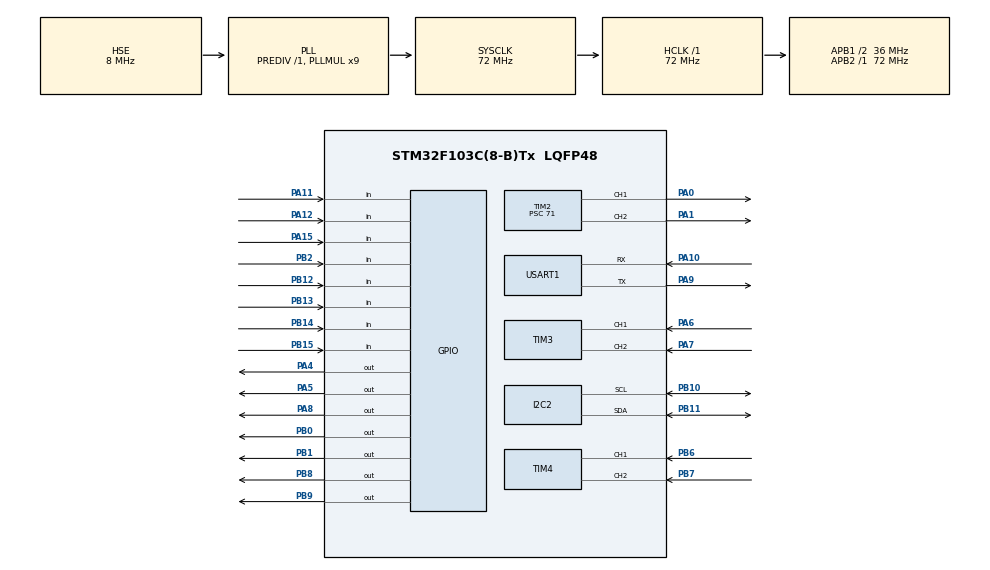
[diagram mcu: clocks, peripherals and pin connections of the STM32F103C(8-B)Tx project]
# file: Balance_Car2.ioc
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Mcu.Family=STM32F1
Mcu.Name=STM32F103C(8-B)Tx
Mcu.Package=LQFP48
NVIC.PriorityGroup=NVIC_PRIORITYGROUP_4
NVIC.TIM1_UP_IRQn=true\:0\:0\:false\:false\:true\:true\:true\:true
NVIC.USART1_IRQn=true\:3\:0\:true\:false\:true\:true\:true\:true
PA0-WKUP.Signal=S_TIM2_CH1_ETR
PA1.Signal=S_TIM2_CH2
PA10.Mode=Asynchronous
PA10.Signal=USART1_RX
PA11.GPIO_PuPd=GPIO_PULLDOWN
PA11.Signal=GPIO_Input
PA12.GPIO_PuPd=GPIO_PULLDOWN
PA12.Signal=GPIO_Input
PA13.Mode=Serial_Wire
PA13.Signal=SYS_JTMS-SWDIO
PA14.Mode=Serial_Wire
PA14.Signal=SYS_JTCK-SWCLK
PA15.GPIO_PuPd=GPIO_PULLDOWN
PA15.Signal=GPIO_Input
PA4.Signal=GPIO_Output
PA5.Signal=GPIO_Output
PA6.Signal=S_TIM3_CH1
PA7.Signal=S_TIM3_CH2
PA8.GPIO_PuPd=GPIO_PULLDOWN
PA8.Signal=GPIO_Output
PA9.Mode=Asynchronous
PA9.Signal=USART1_TX
PB0.Signal=GPIO_Output
PB1.Signal=GPIO_Output
PB10.Mode=I2C
PB10.Signal=I2C2_SCL
PB11.Mode=I2C
PB11.Signal=I2C2_SDA
PB12.GPIO_Mode=GPIO_MODE_INPUT
PB12.GPIO_PuPd=GPIO_PULLDOWN
PB12.Signal=GPIO_Input
PB13.GPIO_Mode=GPIO_MODE_INPUT
PB13.GPIO_PuPd=GPIO_PULLDOWN
PB13.Signal=GPIO_Input
PB14.GPIO_Mode=GPIO_MODE_INPUT
PB14.GPIO_PuPd=GPIO_PULLDOWN
PB14.Signal=GPIO_Input
PB15.GPIO_Mode=GPIO_MODE_INPUT
PB15.GPIO_PuPd=GPIO_PULLDOWN
PB15.Signal=GPIO_Input
PB2.GPIO_Mode=GPIO_MODE_INPUT
PB2.GPIO_PuPd=GPIO_PULLDOWN
PB2.Signal=GPIO_Input
PB6.Signal=S_TIM4_CH1
PB7.Signal=S_TIM4_CH2
PB8.GPIO_ModeDefaultOutputPP=GPIO_MODE_OUTPUT_OD
PB8.GPIO_PuPd=GPIO_PULLUP
PB8.Signal=GPIO_Output
PB9.GPIO_ModeDefaultOutputPP=GPIO_MODE_OUTPUT_OD
PB9.GPIO_PuPd=GPIO_PULLUP
PB9.GPIO_Speed=GPIO_SPEED_FREQ_HIGH
PB9.Signal=GPIO_Output
PC14-OSC32_IN.Mode=LSE-External-Oscillator
PC14-OSC32_IN.Signal=RCC_OSC32_IN
PC15-OSC32_OUT.Mode=LSE-External-Oscillator
PC15-OSC32_OUT.Signal=RCC_OSC32_OUT
PD0-OSC_IN.Mode=HSE-External-Oscillator
PD0-OSC_IN.Signal=RCC_OSC_IN
PD1-OSC_OUT.Mode=HSE-External-Oscillator
PD1-OSC_OUT.Signal=RCC_OSC_OUT
ProjectManager.HeapSize=0x200
ProjectManager.StackSize=0x400
ProjectManager.TargetToolchain=STM32CubeIDE
RCC.AHBFreq_Value=72000000
RCC.APB1CLKDivider=RCC_HCLK_DIV2
RCC.APB1Freq_Value=36000000
RCC.APB1TimFreq_Value=72000000
RCC.APB2Freq_Value=72000000
RCC.APB2TimFreq_Value=72000000
RCC.HCLKFreq_Value=72000000
RCC.PLLMUL=RCC_PLL_MUL9
RCC.PLLSourceVirtual=RCC_PLLSOURCE_HSE
RCC.SYSCLKFreq_VALUE=72000000
RCC.SYSCLKSource=RCC_SYSCLKSOURCE_PLLCLK
RCC.USBFreq_Value=72000000
SH.S_TIM2_CH1_ETR.0=TIM2_CH1,PWM Generation1 CH1
SH.S_TIM2_CH2.0=TIM2_CH2,PWM Generation2 CH2
SH.S_TIM3_CH1.0=TIM3_CH1,Encoder_Interface
SH.S_TIM3_CH2.0=TIM3_CH2,Encoder_Interface
SH.S_TIM4_CH1.0=TIM4_CH1,Encoder_Interface
SH.S_TIM4_CH2.0=TIM4_CH2,Encoder_Interface
TIM1.Period=999
TIM1.Prescaler=71
TIM2.Channel-PWM\ Generation1\ CH1=TIM_CHANNEL_1
TIM2.Channel-PWM\ Generation2\ CH2=TIM_CHANNEL_2
TIM2.Period=99
TIM2.Prescaler=71
TIM3.AutoReloadPreload=TIM_AUTORELOAD_PRELOAD_DISABLE
TIM3.EncoderMode=TIM_ENCODERMODE_TI12
TIM3.IC1Filter=0
TIM4.EncoderMode=TIM_ENCODERMODE_TI12
USART1.VirtualMode=VM_ASYNC
VP_TIM1_VS_ClockSourceINT.Mode=Internal
board=custom

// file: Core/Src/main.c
/* USER CODE BEGIN Header */
/**
  ******************************************************************************
  * @file           : main.c
  * @brief          : Main program body
  ******************************************************************************
  * @attention
  *
  * Copyright (c) 2026 STMicroelectronics.
  * All rights reserved.
  *
  * This software is licensed under terms that can be found in the LICENSE file
  * in the root directory of this software component.
  * If no LICENSE file comes with this software, it is provided AS-IS.
  *
  ******************************************************************************
  */
/* USER CODE END Header */
#include "main.h"
#include "i2c.h"
#include "tim.h"
#include "usart.h"
#include "gpio.h"

/* USER CODE BEGIN Includes */

#include "main.h"
#include "math.h"
#include "tim.h"
#include "usart.h"
#include "stdio.h"
#include "gpio.h"
#include "string.h"
#include "motor.h"
#include "OLED.h"
#include "pid.h"
#include "hongwai.h"
#include "my_i2c.h"
#include "ms6dsv(1).h"
#include "stdlib.h"
#include "stdint.h"
#include "i2c.h"
#include "daima.h"

void SystemClock_Config(void);
uint8_t mode=0;
float location=0;
float angle_z=0;
float base_speed = 150;       // 基础速度
float target_angle = 0.0f;    // 目标角度（0=直线）
extern uint8_t IR[7]; //七个红外对管
extern uint8_t IRz;
/* USER CODE END Includes */

/* USER CODE BEGIN PTD */
float Speed_left,Speed_right,Location;		//速度，位置
//
//PID_t Inner_left = {
//    .Kp = 0.3f,
//    .Ki = 0.09f,
//    .Kd = 0.0f,
//    .OutMax = 99,
//    .OutMin = -99,
//};
//PID_t Inner_right = {
//    .Kp = 0.3f,
//    .Ki = 0.09f,
//    .Kd = 0.0f,
//    .OutMax = 99,
//    .OutMin = -99,
//};

// 内环 速度环 稳定不啸叫
PID_t Inner_left = {
    .Kp = 0.3f,
    .Ki = 0.09f,   // 积分压到极低，不冲
    .Kd = 0.0f,
    .OutMax = 99,
    .OutMin = -99,
};

PID_t Inner_right = {
    .Kp = 0.3f,
    .Ki = 0.09f,
    .Kd = 0.0f,
    .OutMax = 99,
    .OutMin = -99,
};

// 角度环（转向环）PID —— 负责走直线、修正方向
PID_t Angle_PID = {
//    .Kp = 2.2f,     // 转向力度
//    .Ki = 0.0f,    // 小积分
//    .Kd = 0.5f,     // 微阻尼
////		.Kp = 8.0f,     // 转向力度
////		.Ki = 0.00f,    // 小积分
////		.Kd = 0.5f,     // 微阻尼
//    .OutMax = 60,   // 转向最大修正量（不能太大）
//    .OutMin = -60,
//		 .Kp = 3.0f,     // 转向力度
//		    .Ki = 0.0f,    // 小积分
//		    .Kd = 0.5f,     // 微阻尼
//		//		.Kp = 8.0f,     // 转向力度
//		//		.Ki = 0.00f,    // 小积分
//		//		.Kd = 0.5f,     // 微阻尼
//		    .OutMax = 60,   // 转向最大修正量（不能太大）
//		    .OutMin = -60,          //90度
//		.Kp = 3.0f,     // 转向力度
//				.Ki = 0.00f,    // 小积分
//				.Kd = 0.5f,     // 微阻尼
//		    .OutMax = 50,   // 转向最大修正量（不能太大）
//		    .OutMin = -50,          //90度

//		.Kp = 3.0f,     // 转向力度
//				.Ki = 0.04f,    // 小积分
//				.Kd = 0.0f,     // 微阻尼
//		    .OutMax = 50,   // 转向最大修正量（不能太大）
//		    .OutMin = -50,
		.Kp = 3.0f,     // 转向力度
				.Ki = 0.1f,    // 小积分
				.Kd = 0.2f,     // 微阻尼
		    .OutMax = 40,   // 转向最大修正量（不能太大）
		    .OutMin = -40,

};

// 外环 位置环 不冲、稳停车
Motor Outer = {

//		.Kp = 0.1f,
//		.Ki = 0.0f,
//		.Kd = 0.1f,
//    .OutMax = 140,
//    .OutMin = -140,
		.Kp = 0.1f,
		.Ki = 0.0f,
		.Kd = 0.1f,
    .OutMax = 140,
    .OutMin = -140,

};
//Motor Outer = {
//    .Kp = 6.0f,      // 更稳
//    .Ki = 0.0f,
//    .Kd = 1.2f,      // 降低，减少抖动
//    .OutMax = 420,   // 正常速度（不会飞）
//    .OutMin = -420,
//};
/* USER CODE END PTD */

/* USER CODE BEGIN PD */

// 全局变量（放在 main.c 最上面）

uint32_t delay_ms = 0;    // 计时用
/* USER CODE END PD */

/* USER CODE BEGIN PM */
uint8_t go_trace_flag = 0;  // 0=走直线  1=循迹
/* USER CODE END PM */

void SystemClock_Config(void);

/* USER CODE BEGIN 0 */
// 两个速度环PID，完全独立！

// 速度环PID初始化

// 输出限幅（你的PWM最大值 99）

/* USER CODE END 0 */

int main(void)
{

  /* MCU Configuration--------------------------------------------------------*/

  /* Reset of all peripherals, Initializes the Flash interface and the Systick. */
  HAL_Init();

  /* Configure the system clock */
  SystemClock_Config();

  /* Initialize all configured peripherals */
  MX_GPIO_Init();
  MX_TIM1_Init();
  MX_TIM2_Init();
  MX_TIM3_Init();
  MX_TIM4_Init();
  MX_USART1_UART_Init();
  MX_I2C2_Init();
  /* USER CODE BEGIN 2 */

  // 开启外设
  HAL_TIM_PWM_Start(&htim2, TIM_CHANNEL_1);
  HAL_TIM_PWM_Start(&htim2, TIM_CHANNEL_2);
  HAL_TIM_Encoder_Start(&htim3, TIM_CHANNEL_ALL);
  HAL_TIM_Encoder_Start(&htim4, TIM_CHANNEL_ALL);
  MX_TIM1_Init();
  LSM6DSV_Init();
  HAL_TIM_Base_Start_IT(&htim1); // 开启TIM1中断
//  Inner_left.Target=60;
//  Inner_right.Target=60;
//  base_speed=90;
//  target_angle=-30; //斜线角度

  /* USER CODE END 2 */

  /* Infinite loop */
  while (1)
  {

  }
}

void SystemClock_Config(void)
{
  RCC_OscInitTypeDef RCC_OscInitStruct = {0};
  RCC_ClkInitTypeDef RCC_ClkInitStruct = {0};

  /** Initializes the RCC Oscillators according to the specified parameters
  * in the RCC_OscInitTypeDef structure.
  */
  RCC_OscInitStruct.OscillatorType = RCC_OSCILLATORTYPE_HSE;
  RCC_OscInitStruct.HSEState = RCC_HSE_ON;
  RCC_OscInitStruct.HSEPredivValue = RCC_HSE_PREDIV_DIV1;
  RCC_OscInitStruct.HSIState = RCC_HSI_ON;
  RCC_OscInitStruct.PLL.PLLState = RCC_PLL_ON;
  RCC_OscInitStruct.PLL.PLLSource = RCC_PLLSOURCE_HSE;
  RCC_OscInitStruct.PLL.PLLMUL = RCC_PLL_MUL9;
  if (HAL_RCC_OscConfig(&RCC_OscInitStruct) != HAL_OK)
  {
    Error_Handler();
  }

  /** Initializes the CPU, AHB and APB buses clocks
  */
  RCC_ClkInitStruct.ClockType = RCC_CLOCKTYPE_HCLK|RCC_CLOCKTYPE_SYSCLK
                              |RCC_CLOCKTYPE_PCLK1|RCC_CLOCKTYPE_PCLK2;
  RCC_ClkInitStruct.SYSCLKSource = RCC_SYSCLKSOURCE_PLLCLK;
  RCC_ClkInitStruct.AHBCLKDivider = RCC_SYSCLK_DIV1;
  RCC_ClkInitStruct.APB1CLKDivider = RCC_HCLK_DIV2;
  RCC_ClkInitStruct.APB2CLKDivider = RCC_HCLK_DIV1;

  if (HAL_RCC_ClockConfig(&RCC_ClkInitStruct, FLASH_LATENCY_2) != HAL_OK)
  {
    Error_Handler();
  }
}

/* USER CODE BEGIN 4 */
int16_t temp1=0;
int16_t temp2=0;
int16_t du1(void)
{
    temp1 = __HAL_TIM_GET_COUNTER(&htim3);
    __HAL_TIM_SET_COUNTER(&htim3, 0);
    return temp1;
}
int16_t du2(void)
{

    temp2= __HAL_TIM_GET_COUNTER(&htim4);
    __HAL_TIM_SET_COUNTER(&htim4, 0);
    return temp2;
}

char text[80];
uint16_t count=0;
extern Motor_1 L_PID;
extern Motor_1 R_PID;

// uint8_t first_run = 0;
// uint8_t num1=0;

	uint8_t  this_white_flag  = 0;
	uint8_t  last_white_flag  = 0;
uint8_t flag11=0;

void HAL_TIM_PeriodElapsedCallback(TIM_HandleTypeDef *htim)
{
	if(htim->Instance==TIM1)
	{
		static uint16_t Count1=0;
//		static uint16_t tim=0;
		Count1++;
//		tim++;
//		if(tim>3000)
//		{
//			tim=0;
//			Outer.Out+=40;
//			if(Outer.Out>250)
//			{
//				Outer.Out=-250;
//
//			}
//		}
		// 40ms 中断
		if (Count1 >= 40)
		{
			Count1=0;

//			target_angle =90;
//			//Outer.Target  = 5000;
//			jiaodusuduhuan();
//			jiaoduweizhisuduhuan();
//			sprintf(text, "%.2f,%.2f,%.2f\r\n",Inner_left.Actual,Inner_right.Actual,Angle_PID.Actual);
//			HAL_UART_Transmit(&huart1, (uint8_t*)text, strlen(text), 100);

//			aaa();
////
////			Inner_left.Target=1000;
////			Inner_right.Target=1000;
////			suduhuan();

//**************************第三题半圈****************************
//			uint8_t status = LSM6DSV_ReadReg(0x1E);
//			if((status & 0x03) == 0x03)
//			{
//				int16_t gx, gy, gz;
//				int16_t ax, ay, az;
//				LSM6DSV_ReadGyro(&gx, &gy, &gz);
//				LSM6DSV_ReadAccel(&ax, &ay, &az);
//
//				float gz_dps = gz * 4.375f / 1000.0f;
//				if(fabs(gz_dps) < 3.0f) gz_dps = 0.0f;
//				angle_z += gz_dps * 0.04f;
//			}
//
//			// 读取7路红外
//			IR[0] = HAL_GPIO_ReadPin(GPIOA, GPIO_PIN_12);
//			IR[1] = HAL_GPIO_ReadPin(GPIOA, GPIO_PIN_11);
//			IR[2] = HAL_GPIO_ReadPin(GPIOB, GPIO_PIN_15);
//			IR[3] = HAL_GPIO_ReadPin(GPIOA, GPIO_PIN_15);
//			IR[4] = HAL_GPIO_ReadPin(GPIOB, GPIO_PIN_14);
//			IR[5] = HAL_GPIO_ReadPin(GPIOB, GPIO_PIN_13);
//			IR[6] = HAL_GPIO_ReadPin(GPIOB, GPIO_PIN_12);
//
//			// ==============================================
//			// 核心逻辑：斜走完成后 → 循迹 / 左转找线
//			// ==============================================
//			if(go_trace_flag == 0)
//			{
//				// ======================
//				// 阶段1：还没走完 → 斜走 -45° 9500
//				// ======================
//				target_angle = -45;
//				Outer.Target  = 9500;
//				jiaoduweizhisuduhuan();
//			}
//			else
//			{
//				// ======================
//				// 阶段2：斜走完成 → 判断是否在线上
//				// ======================
//				uint8_t has_black = 0;
//				if(IR[0]==1 || IR[1]==1 || IR[2]==1 || IR[3]==1 || IR[4]==1 || IR[5]==1 || IR[6]==1)
//				{
//					has_black = 1; // 有黑线 → 在线上
//				}
//				else
//				{
//					has_black = 0; // 全白 → 不在线上
//				}
//
//				// ======================
//				// 执行：在线循迹 / 不在线左转
//				// ======================
//				if(has_black == 1)
//				{
//					// ✅ 在线 → 循迹
//					Track_7IR();
//					suduhuan();
//				}
//				else
//				{
//					// ❌ 不在线 → 原地左转找线
//					suduhuan_zizhuan(0.0f, 30.0f);
//				}
//			}
//						sprintf(text, "%.2f,%.2f,%.2f\r\n",Inner_left.Actual,Inner_right.Actual,Angle_PID.Actual);
//						HAL_UART_Transmit(&huart1, (uint8_t*)text, strlen(text), 100);
//**************************第三题半圈****************************

//			**************************第三题1圈****************************
//			uint8_t status = LSM6DSV_ReadReg(0x1E);
//			if((status & 0x03) == 0x03)
//			{
//			    int16_t gx, gy, gz;
//			    int16_t ax, ay, az;
//			    LSM6DSV_ReadGyro(&gx, &gy, &gz);
//			    LSM6DSV_ReadAccel(&ax, &ay, &az);
//
//			    float gz_dps = gz * 4.375f / 1000.0f;
//			    if(fabs(gz_dps) < 3.0f) gz_dps = 0.0f;
//			    angle_z += gz_dps * 0.04f;
//			}
//
//			// 读取红外
//			IR[0] = HAL_GPIO_ReadPin(GPIOA, GPIO_PIN_12);
//			IR[1] = HAL_GPIO_ReadPin(GPIOA, GPIO_PIN_11);
//			IR[2] = HAL_GPIO_ReadPin(GPIOB, GPIO_PIN_15);
//			IR[3] = HAL_GPIO_ReadPin(GPIOA, GPIO_PIN_15);
//			IR[4] = HAL_GPIO_ReadPin(GPIOB, GPIO_PIN_14);
//			IR[5] = HAL_GPIO_ReadPin(GPIOB, GPIO_PIN_13);
//			IR[6] = HAL_GPIO_ReadPin(GPIOB, GPIO_PIN_12);
//
//			// 判断有没有黑线
//
//
//			uint8_t has_black = 0;
//
////			uint8_t white=0;
////			if(IR[0]==0 && IR[1]==0 && IR[2]==0 && IR[3]==0 && IR[4]==0 && IR[5]==0 && IR[6]==0)
////			{
////				white = 1;
////			}
//			if(IR[0]==1 || IR[1]==1 || IR[2]==1 || IR[3]==1 || IR[4]==1 || IR[5]==1 || IR[6]==1)
//			{
//
//			    has_black = 1;
//			}
//
//			// ==============================================
//			// 你要的最终完美逻辑
//			// ==============================================
//			if(go_trace_flag == 0)       // 1. 先斜着走 -45° 9500
//			{
//
//				if(flag==0)
//				{
//
//					Inner_left.Error0 = 0;
//					Inner_left.Error1 = 0;
//					Inner_left.ErrorInt = 0;
//					Inner_right.Error0 = 0;
//					Inner_right.Error1 = 0;
//					Inner_right.ErrorInt = 0;
//					Outer.Error0=0;
//					Outer.Error1=0;
//					Outer.ErrorInt=0;
//					Angle_PID.Error0 = 0;
//					Angle_PID.Error1 = 0;
//					Angle_PID.ErrorInt = 0;
////				    Outer.Out = 0;
////				    Angle_PID.Out = 0;
//				    location = 0;
//
//					flag=1;
//				}
//
//			    target_angle = -35;
//			    Outer.Target  = 9500;
//			    jiaoduweizhisuduhuan();
//			}
//			else if(go_trace_flag == 1)  // 2. -45°走完：判断是否要左转找线
//			{
//			    if(has_black)
//			    {
//			        // 有黑线 → 直接循迹
////			    	if(flag11==0)
////			    	{
////			    		Inner_left.Error0 = 0;
////						Inner_left.Error1 = 0;
////						Inner_left.ErrorInt = 0;
////						Inner_right.Error0 = 0;
////						Inner_right.Error1 = 0;
////						Inner_right.ErrorInt = 0;
////						flag11=1;
////			    	}
//
//
//			        go_trace_flag = 2;
//			    }
//			    else
//			    {
//			        // 全白 → 左转找线
//			        suduhuan_zizhuan(0.0f, 40.0f);
//			    }
//			}
//			else if(go_trace_flag == 2)  // 3. 循迹模式
//			{
//			    if(has_black)
//			    {
//			        // 有黑线 → 正常循迹
//			        Track_7IR();
//			        suduhuan();
//			    }
//			    else
//			    {
//			        // 全白 → 去走 215°
//			    	static uint8_t out_times = 0;
//					out_times++;
//
//					if(out_times >= 2)   // 两次离线 = 一圈跑完
//					{
//						go_trace_flag = 0;   // ✅ 回到起点 -40°
//						out_times = 0;       // 清零计数
//						location = 0;
//					}
//					else
//					{
//						go_trace_flag = 3;  // 第一次离线 → 走220°
//					}
//			        location = 0;
//
//			    }
//			}
//			else if(go_trace_flag == 3)  // 4. 走 215° 9500
//			{
//
//
//				if(flag==1)
//				{
//					Inner_left.Error0 = 0;
//					Inner_left.Error1 = 0;
//					Inner_left.ErrorInt = 0;
//					Inner_right.Error0 = 0;
//					Inner_right.Error1 = 0;
//					Inner_right.ErrorInt = 0;
//					Outer.Error0=0;
//					Outer.Error1=0;
//					Outer.ErrorInt=0;
//					Angle_PID.Error0 = 0;
//					Angle_PID.Error1 = 0;
//					Angle_PID.ErrorInt = 0;
////				    Outer.Out = 0;
////				    Angle_PID.Out = 0;
//				    location = 0;
//					flag=0;
//				}
//				target_angle = 225;
//				Outer.Target  = 10000;
//				jiaoduweizhisuduhuan();
//
//
//			}
//			else if(go_trace_flag == 4)  // 5. 215°走完：判断是否要右转找线
//			{
//
//			    if(has_black)
//			    {
//
//
//			        // 有黑线 → 直接循迹
//			        go_trace_flag = 2;
//
//
//			    }
//			    else
//			    {
//			        // 全白 → 右转找线
//			        suduhuan_zizhuan(40.0f, 0.0f);
//
//			    }
//			}

//	        Track_7IR();
//	        suduhuan();
			//**************************第三题1圈****************************

			//**************************第三题测试****************************
						uint8_t status = LSM6DSV_ReadReg(0x1E);
						if((status & 0x03) == 0x03)
						{
							int16_t gx, gy, gz;
							int16_t ax, ay, az;
							LSM6DSV_ReadGyro(&gx, &gy, &gz);
							LSM6DSV_ReadAccel(&ax, &ay, &az);

							float gz_dps = gz * 4.375f / 1000.0f;
							if(fabs(gz_dps) < 3.0f) gz_dps = 0.0f;
							angle_z += gz_dps * 0.04f;
						}

						// 读取红外
//						IR[0] = HAL_GPIO_ReadPin(GPIOA, GPIO_PIN_12);
//						IR[1] = HAL_GPIO_ReadPin(GPIOA, GPIO_PIN_11);
//						IR[2] = HAL_GPIO_ReadPin(GPIOB, GPIO_PIN_15);
//						IR[3] = HAL_GPIO_ReadPin(GPIOB, GPIO_PIN_14);
//						IR[4] = HAL_GPIO_ReadPin(GPIOB, GPIO_PIN_13);
//						IR[5] = HAL_GPIO_ReadPin(GPIOB, GPIO_PIN_12);
//						IRz = HAL_GPIO_ReadPin(GPIOA, GPIO_PIN_15);
			            Track_7IR();
			            du1();
			            du2();

						switch(mode)
						{
						case 0:Mode_1();break;
						case 1:Mode_2();break;
						case 2:Mode_3();break;
						case 3:Mode_4();break;
						case 4:Mode_5();break;
						case 5:Mode_6();break;
						}

//						// 判断有没有黑线
//						static uint8_t quanshu=0;
//						static uint8_t quanshu2=0;
//
//
//						uint8_t has_black = 0;
//
//			//			uint8_t white=0;
//			//			if(IR[0]==0 && IR[1]==0 && IR[2]==0 && IR[3]==0 && IR[4]==0 && IR[5]==0 && IR[6]==0)
//			//			{
//			//				white = 1;
//			//			}
//						if(IR[0]==1 || IR[1]==1 || IR[2]==1 || IR[3]==1 || IR[4]==1 || IR[5]==1 || IR[6]==1)
//						{
//
//						    has_black = 1;
//						}
//
//						// ==============================================
//						// 你要的最终完美逻辑
//						// ==============================================
//						if(go_trace_flag == 0)       // 1. 先斜着走 -45° 9500
//						{
//
//							if(flag==0)
//							{
//								quanshu++;
//
//								Inner_left.Error0 = 0;
//								Inner_left.Error1 = 0;
//								Inner_left.ErrorInt = 0;
//								Inner_right.Error0 = 0;
//								Inner_right.Error1 = 0;
//								Inner_right.ErrorInt = 0;
//								Outer.Error0=0;
//								Outer.Error1=0;
//								Outer.ErrorInt=0;
//								Angle_PID.Error0 = 0;
//								Angle_PID.Error1 = 0;
//								Angle_PID.ErrorInt = 0;
//							    Outer.Out = 0;
//							    Angle_PID.Out = 0;
//							    location = 0;
//
//								flag=1;
//							}
//
//							if(quanshu==1)
//							{
//								angle_z=0;
//								quanshu=2;
//
//							}
//							else if(quanshu==2)
//							{
//								angle_z=20;
//								quanshu=1;
////								target_angle = (-40+(quanshu-1)*(15-(quanshu-1)));
////								 target_angle = (-40+(quanshu-1)*15);
////								 Outer.Target  = (9500+(quanshu-1)*(600-quanshu*50));
////								Outer.Target  = 9500+(quanshu-1)*600;
//							}
////							else if(quanshu==3)
////							{
////								target_angle = -8;
////								Outer.Target  =10000;
//////								target_angle = (-40+(quanshu-1)*(15-(quanshu-1)));
//////								 target_angle = (-40+(quanshu-1)*15);
//////								 Outer.Target  = (9500+(quanshu-1)*(600-quanshu*50));
//////								Outer.Target  = 9500+(quanshu-1)*600;
////							}
////							else if(quanshu==4)
////							{
////								target_angle =10;
////								Outer.Target  =10000;
//////								target_angle = (-40+(quanshu-1)*(15-(quanshu-1)));
//////								 target_angle = (-40+(quanshu-1)*15);
//////								 Outer.Target  = (9500+(quanshu-1)*(600-quanshu*50));
//////								Outer.Target  = 9500+(quanshu-1)*600;
////							}
//							 target_angle = -45;
//							Outer.Target  = 10000;
//
//						    jiaoduweizhisuduhuan();
//						}
//						else if(go_trace_flag == 1)  // 2. -45°走完：判断是否要左转找线
//						{
//						    if(has_black)
//						    {
//						        // 有黑线 → 直接循迹
//			//			    	if(flag11==0)
//			//			    	{
//			//			    		Inner_left.Error0 = 0;
//			//						Inner_left.Error1 = 0;
//			//						Inner_left.ErrorInt = 0;
//			//						Inner_right.Error0 = 0;
//			//						Inner_right.Error1 = 0;
//			//						Inner_right.ErrorInt = 0;
//			//						flag11=1;
//			//			    	}
//
//
//						        go_trace_flag = 2;
//						    }
//						    else
//						    {
//						        // 全白 → 左转找线
//						        suduhuan_zizhuan(0.0f, 45.0f);
//						    }
//						}
//						else if(go_trace_flag == 2)  // 3. 循迹模式
//						{
//						    if(has_black)
//						    {
//						        // 有黑线 → 正常循迹
//						        Track_7IR();
//						        suduhuan();
//						    }
//						    else
//						    {
//						        // 全白 → 去走 215°
//						    	static uint8_t out_times = 0;
//								out_times++;
//
//								if(out_times >= 2)   // 两次离线 = 一圈跑完
//								{
//									go_trace_flag = 0;   // ✅ 回到起点 -40°
//									out_times = 0;       // 清零计数
//									location = 0;
//								}
//								else
//								{
//									go_trace_flag = 3;  // 第一次离线 → 走220°
//								}
//						        location = 0;
//
//						    }
//						}
//						else if(go_trace_flag == 3)  // 4. 走 215° 9500
//						{
//
//
//
//							if(flag==1)
//							{
//								quanshu2=1;
//
////								Inner_left.Error0 = 0;
////								Inner_left.Error1 = 0;
////								Inner_left.ErrorInt = 0;
////								Inner_right.Error0 = 0;
////								Inner_right.Error1 = 0;
////								Inner_right.ErrorInt = 0;
////								Outer.Error0=0;
////								Outer.Error1=0;
////								Outer.ErrorInt=0;
////								Angle_PID.Error0 = 0;
////								Angle_PID.Error1 = 0;
////								Angle_PID.ErrorInt = 0;
////							    Outer.Out = 0;
////							    Angle_PID.Out = 0;
//							    location = 0;
//								flag=0;
//							}
//							if(quanshu2==1)
//							{
//								angle_z=-20;
//								quanshu2=0;
//							}
////							else if(quanshu2==4||quanshu2==5||quanshu2==6||quanshu2==7||quanshu2==8)
////							{
////
////							}
////							else if(quanshu2==2)
////							{
////								target_angle = 215;
////								Outer.Target  = 10200;
//////								target_angle = 220+(quanshu2-1)*15;
//////								Outer.Target  = 10000+(quanshu2-1)*500;
////
//////								Outer.Target  = (10000+(quanshu2-1)*(500-quanshu2*50));
//////								target_angle = (220+(quanshu2-1)*(15-quanshu2));
////
////							}
////							else if(quanshu2==3)
////							{
////								target_angle = 235;
////								Outer.Target  = 10400;
//////								target_angle = 220+(quanshu2-1)*15;
//////								Outer.Target  = 10000+(quanshu2-1)*500;
////
//////								Outer.Target  = (10000+(quanshu2-1)*(500-quanshu2*50));
//////								target_angle = (220+(quanshu2-1)*(15-quanshu2));
////
////							}
////							else if(quanshu2==4)
////							{
////								target_angle = 245;
////								Outer.Target  = 10600;
//////								target_angle = 220+(quanshu2-1)*15;
//////								Outer.Target  = 10000+(quanshu2-1)*500;
////
//////								Outer.Target  = (10000+(quanshu2-1)*(500-quanshu2*50));
//////								target_angle = (220+(quanshu2-1)*(15-quanshu2));
////
////							}
//
//
//
//
//
//							target_angle = 45;
//							Outer.Target  = 10000;
//							jiaoduweizhisuduhuan();
//
//
//						}
//						else if(go_trace_flag == 4)  // 5. 215°走完：判断是否要右转找线
//						{
//
//						    if(has_black)
//						    {
//
//
//						        // 有黑线 → 直接循迹
//						        go_trace_flag = 2;
//
//
//						    }
//						    else
//						    {
//						        // 全白 → 右转找线
//						        suduhuan_zizhuan(45.0f, 0.0f);
//
//						    }
//						}

			//**************************第三题测试****************************

//
//
//			Track_7IR();
//							 suduhuan();

//第二题*******************************************************************
//			uint8_t status = LSM6DSV_ReadReg(0x1E);
//			if((status & 0x03) == 0x03)
//			{
//				int16_t gx, gy, gz;
//				int16_t ax, ay, az;
//				LSM6DSV_ReadGyro(&gx, &gy, &gz);
//				LSM6DSV_ReadAccel(&ax, &ay, &az);
//
//				float gz_dps = gz * 4.375f / 1000.0f;  //4.375
//				if(fabs(gz_dps) < 3.0f) gz_dps = 0.0f;
//				angle_z += gz_dps * 0.04f;
//			}
//
//			IR[0] = HAL_GPIO_ReadPin(GPIOA, GPIO_PIN_12);
//			IR[1] = HAL_GPIO_ReadPin(GPIOA, GPIO_PIN_11);
//			IR[2] = HAL_GPIO_ReadPin(GPIOB, GPIO_PIN_15);
//			IR[3] = HAL_GPIO_ReadPin(GPIOA, GPIO_PIN_15);
//			IR[4] = HAL_GPIO_ReadPin(GPIOB, GPIO_PIN_14);
//			IR[5] = HAL_GPIO_ReadPin(GPIOB, GPIO_PIN_13);
//			IR[6] = HAL_GPIO_ReadPin(GPIOB, GPIO_PIN_12);
//			 if(IR[0]==0 && IR[1]==0 && IR[2]==0 && IR[3]==0 && IR[4]==0 && IR[5]==0 && IR[6]==0)
//			{
//				this_white_flag = 1;
//			}
//			 if(this_white_flag == 1)
//			 {
//				 Angle_PID.Error0 = 0;
//				 Angle_PID.ErrorInt = 0;
//				 Angle_PID.Error1 = 0;
//
//				 jiaodusuduhuan();
//			 }
//			 if(IR[0]==1 || IR[1]==1 || IR[2]==1 || IR[3]==1 || IR[4]==1 || IR[5]==1 || IR[6]==1)
//			 {
//
//				 this_white_flag = 0;
////				 Angle_PID.Error0 = 0;
////				 Angle_PID.ErrorInt = 0;
////				 Angle_PID.Error1 = 0;
//				 Track_7IR();
//				 suduhuan();
//
//			 }
//			 if(this_white_flag == 0&& last_white_flag == 1)
//			 {
////				 flag++;
////				 if(flag%2==1)
////				 {
////					 target_angle=-176.0f;
////				 }
////				 else
////				 {
////					 target_angle=-90.0f;
////				 }
//				 target_angle -= 176.0f;//175往外,185往里;
//			 }
//			 last_white_flag=this_white_flag;
//第二题*******************************************************************

//			if(flag == 0)
//			{
//			    Outer.Target = 7700;
//			    // 第一次走 0，后面全部走 180
//			    if(first_run%2==0)//直线
//			    {
//			    	//angle_z=0;
//			        target_angle = 0;
//			    }
//			    else
//			    {
//			        target_angle = -180;   // 永远保持 180，不会变 0！
//			    }
//			    // 看到黑线
//			    if(IR[0]==1 || IR[1]==1 || IR[2]==1 || IR[3]==1 || IR[4]==1 || IR[5]==1 || IR[6]==1)
//			    {
//			    	this_white_flag=0;
//			    }
//			}
//			else if(flag == 1)
//			{
//			    // 全黑保护
//			    if(IR[0]==1 && IR[1]==1 && IR[2]==1 && IR[3]==1 && IR[4]==1 && IR[5]==1 && IR[6]==1)
//			    {
//			        __HAL_TIM_SET_COMPARE(&htim2, TIM_CHANNEL_1, 0);
//			        __HAL_TIM_SET_COMPARE(&htim2, TIM_CHANNEL_2, 0);
//			    }
//			    // 全白 → 回到直线
//			    else if(IR[0]==0 && IR[1]==0 && IR[2]==0 && IR[3]==0 && IR[4]==0 && IR[5]==0 && IR[6]==0)
//			    {
//			    	first_run++;
//			        target_angle = (first_run % 2 == 0) ? 0 : -180;
//			        Outer.Target = 7700;
//			        location = 0;
//			        flag = 0;
//
//			    }
//			}

//			if(flag == 0)
//			{
//				jiaoduweizhisuduhuan();
//			}
//			else
//			{
//			    Track_7IR();
//			    suduhuan();
//			}
//			last_white_flag=this_white_flag;
//
//			sprintf(text, "%.2f,%.2f,%.2f\r\n",Inner_left.Actual,Inner_right.Actual,Angle_PID.Actual);
//			HAL_UART_Transmit(&huart1, (uint8_t*)text, strlen(text), 100);

		}
	}
}

/* USER CODE END 4 */

void Error_Handler(void)
{
  __disable_irq();
  while (1)
  {
  }
}
